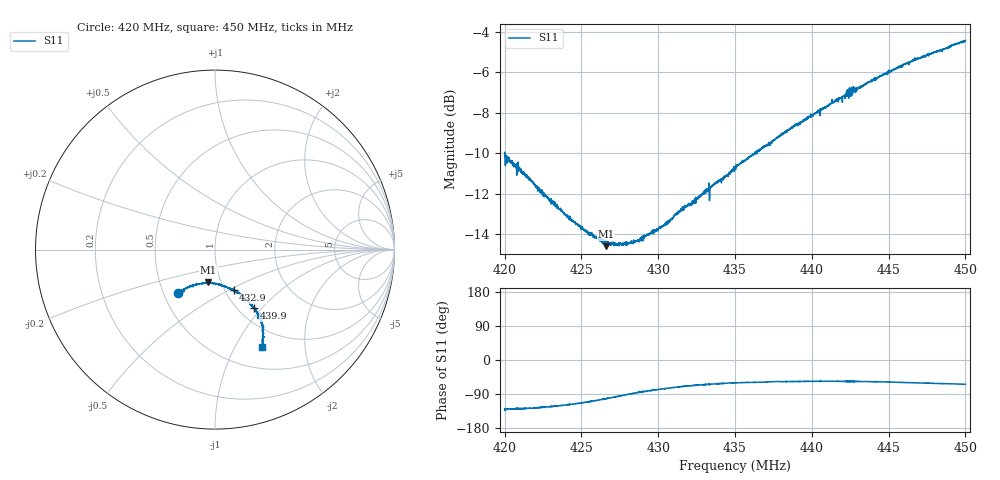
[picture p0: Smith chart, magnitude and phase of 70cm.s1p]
! Calibrated averaged scanner-service zoom
# Hz S RI R 50
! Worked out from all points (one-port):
!   3001 points, 420 MHz to 450 MHz, reference 50 ohm
!   lowest |S11| = -14.6 dB at 426.6 MHz (marker M1), VSWR 1.46, Z = 43.6 - j16.5 ohm
!   |S11| at or under -10 dB: 420.0039 MHz to 420.0181 MHz (14.19 kHz wide, 0.00338 % of centre); 420 MHz to 436.3 MHz (16.24 MHz wide, 3.79 % of centre); 436.2813 MHz to 436.3072 MHz (25.88 kHz wide, 0.00593 % of centre)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
!   S11 on the Smith chart (normalised r, x): 420 MHz: 0.60, -0.32; 432.9 MHz: 1.10, -0.53; 439.9 MHz: 1.18, -0.90; 450 MHz: 0.77, -1.30
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4.2e8  -0.2045 -0.2432
4.202e8  -0.1972 -0.231
4.2095e8  -0.1827 -0.224
4.2207e8  -0.1544 -0.2107
4.2375e8  -0.1132 -0.1968
4.2532e8  -0.0723 -0.1898
4.261e8  -0.0522 -0.1868
4.2661e8  -0.0367 -0.1825
4.275e8  -0.015 -0.188
4.2824e8  0.00336 -0.1895
4.2887e8  0.0186 -0.1918
4.3042e8  0.0501 -0.2033
4.3125e8  0.0727 -0.212
4.3222e8  0.0894 -0.2195
4.3285e8  0.1033 -0.2266
4.3373e8  0.1205 -0.2376
4.3453e8  0.1358 -0.2444
4.35e8  0.1447 -0.2522
4.3685e8  0.1707 -0.2792
4.3724e8  0.1806 -0.2833
4.3875e8  0.199 -0.308
4.3992e8  0.2171 -0.3243
4.4211e8  0.2391 -0.3661
4.425e8  0.2437 -0.3759
4.4473e8  0.265 -0.4219
4.4625e8  0.2676 -0.4572
4.4762e8  0.267 -0.487
4.5e8  0.264 -0.5405
